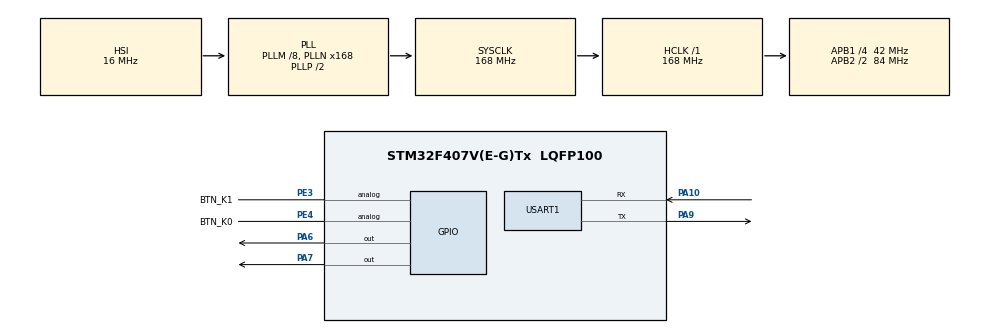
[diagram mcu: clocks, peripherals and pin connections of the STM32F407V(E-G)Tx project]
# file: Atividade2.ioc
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FREERTOS.Tasks01=TaskProcesso,24,128,TaskProcesso_fun,Default,NULL,Dynamic,NULL,NULL;TaskInterface,24,128,TaskInterface_fun,Default,NULL,Dynamic,NULL,NULL;TaskEmergencia,40,128,TaskEmergencia_fun,Default,NULL,Dynamic,NULL,NULL
Mcu.Family=STM32F4
Mcu.Name=STM32F407V(E-G)Tx
Mcu.Package=LQFP100
NVIC.PriorityGroup=NVIC_PRIORITYGROUP_4
NVIC.TIM1_UP_TIM10_IRQn=true\:15\:0\:false\:false\:true\:false\:false\:true\:true
NVIC.TimeBase=TIM1_UP_TIM10_IRQn
NVIC.TimeBaseIP=TIM1
PA10.Mode=Asynchronous
PA10.Signal=USART1_RX
PA6.Signal=GPIO_Output
PA7.Signal=GPIO_Output
PA9.Mode=Asynchronous
PA9.Signal=USART1_TX
PE3.GPIO_Label=BTN_K1
PE3.Signal=GPIO_Analog
PE4.GPIO_Label=BTN_K0
PE4.Signal=GPIO_Analog
ProjectManager.HeapSize=0x200
ProjectManager.StackSize=0x400
ProjectManager.TargetToolchain=STM32CubeIDE
RCC.48MHZClocksFreq_Value=84000000
RCC.AHBFreq_Value=168000000
RCC.APB1CLKDivider=RCC_HCLK_DIV4
RCC.APB1Freq_Value=42000000
RCC.APB1TimFreq_Value=84000000
RCC.APB2CLKDivider=RCC_HCLK_DIV2
RCC.APB2Freq_Value=84000000
RCC.APB2TimFreq_Value=168000000
RCC.CortexFreq_Value=168000000
RCC.HCLKFreq_Value=168000000
RCC.HSE_VALUE=25000000
RCC.HSI_VALUE=16000000
RCC.LSE_VALUE=32768
RCC.PLLM=8
RCC.PLLN=168
RCC.SYSCLKFreq_VALUE=168000000
RCC.SYSCLKSource=RCC_SYSCLKSOURCE_PLLCLK
RCC.VCOOutputFreq_Value=336000000
USART1.VirtualMode=VM_ASYNC
VP_FREERTOS_VS_CMSIS_V2.Mode=CMSIS_V2
VP_SYS_VS_tim1.Mode=TIM1
board=custom

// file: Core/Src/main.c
/* USER CODE BEGIN Header */
/**
  ******************************************************************************
  * @file           : main.c
  * @brief          : Main program body
  ******************************************************************************
  * @attention
  *
  * Copyright (c) 2026 STMicroelectronics.
  * All rights reserved.
  *
  * This software is licensed under terms that can be found in the LICENSE file
  * in the root directory of this software component.
  * If no LICENSE file comes with this software, it is provided AS-IS.
  *
  ******************************************************************************
  */
/* USER CODE END Header */
#include "main.h"
#include "cmsis_os.h"

/* USER CODE BEGIN Includes */
#include <stdio.h>
/* USER CODE END Includes */

UART_HandleTypeDef huart1;

/* Definitions for TaskProcesso */
osThreadId_t TaskProcessoHandle;
const osThreadAttr_t TaskProcesso_attributes = {
  .name = "TaskProcesso",
  .stack_size = 128 * 4,
  .priority = (osPriority_t) osPriorityNormal,
};
/* Definitions for TaskInterface */
osThreadId_t TaskInterfaceHandle;
const osThreadAttr_t TaskInterface_attributes = {
  .name = "TaskInterface",
  .stack_size = 128 * 4,
  .priority = (osPriority_t) osPriorityNormal,
};
/* Definitions for TaskEmergencia */
osThreadId_t TaskEmergenciaHandle;
const osThreadAttr_t TaskEmergencia_attributes = {
  .name = "TaskEmergencia",
  .stack_size = 128 * 4,
  .priority = (osPriority_t) osPriorityHigh,
};

void SystemClock_Config(void);
static void MX_GPIO_Init(void);
static void MX_USART1_UART_Init(void);
void TaskProcesso_fun(void *argument);
void TaskInterface_fun(void *argument);
void TaskEmergencia_fun(void *argument);

int main(void)
{

  /* MCU Configuration--------------------------------------------------------*/

  /* Reset of all peripherals, Initializes the Flash interface and the Systick. */
  HAL_Init();

  /* Configure the system clock */
  SystemClock_Config();

  /* Initialize all configured peripherals */
  MX_GPIO_Init();
  MX_USART1_UART_Init();

  /* Init scheduler */
  osKernelInitialize();

  /* Create the thread(s) */
  /* creation of TaskProcesso */
  TaskProcessoHandle = osThreadNew(TaskProcesso_fun, NULL, &TaskProcesso_attributes);

  /* creation of TaskInterface */
  TaskInterfaceHandle = osThreadNew(TaskInterface_fun, NULL, &TaskInterface_attributes);

  /* creation of TaskEmergencia */
  TaskEmergenciaHandle = osThreadNew(TaskEmergencia_fun, NULL, &TaskEmergencia_attributes);

  /* Start scheduler */
  osKernelStart();

  /* We should never get here as control is now taken by the scheduler */

  /* Infinite loop */
  while (1)
  {

  }
}

void SystemClock_Config(void)
{
  RCC_OscInitTypeDef RCC_OscInitStruct = {0};
  RCC_ClkInitTypeDef RCC_ClkInitStruct = {0};

  /** Configure the main internal regulator output voltage
  */
  __HAL_RCC_PWR_CLK_ENABLE();
  __HAL_PWR_VOLTAGESCALING_CONFIG(PWR_REGULATOR_VOLTAGE_SCALE1);

  /** Initializes the RCC Oscillators according to the specified parameters
  * in the RCC_OscInitTypeDef structure.
  */
  RCC_OscInitStruct.OscillatorType = RCC_OSCILLATORTYPE_HSI;
  RCC_OscInitStruct.HSIState = RCC_HSI_ON;
  RCC_OscInitStruct.HSICalibrationValue = RCC_HSICALIBRATION_DEFAULT;
  RCC_OscInitStruct.PLL.PLLState = RCC_PLL_ON;
  RCC_OscInitStruct.PLL.PLLSource = RCC_PLLSOURCE_HSI;
  RCC_OscInitStruct.PLL.PLLM = 8;
  RCC_OscInitStruct.PLL.PLLN = 168;
  RCC_OscInitStruct.PLL.PLLP = RCC_PLLP_DIV2;
  RCC_OscInitStruct.PLL.PLLQ = 4;
  if (HAL_RCC_OscConfig(&RCC_OscInitStruct) != HAL_OK)
  {
    Error_Handler();
  }

  /** Initializes the CPU, AHB and APB buses clocks
  */
  RCC_ClkInitStruct.ClockType = RCC_CLOCKTYPE_HCLK|RCC_CLOCKTYPE_SYSCLK
                              |RCC_CLOCKTYPE_PCLK1|RCC_CLOCKTYPE_PCLK2;
  RCC_ClkInitStruct.SYSCLKSource = RCC_SYSCLKSOURCE_PLLCLK;
  RCC_ClkInitStruct.AHBCLKDivider = RCC_SYSCLK_DIV1;
  RCC_ClkInitStruct.APB1CLKDivider = RCC_HCLK_DIV4;
  RCC_ClkInitStruct.APB2CLKDivider = RCC_HCLK_DIV2;

  if (HAL_RCC_ClockConfig(&RCC_ClkInitStruct, FLASH_LATENCY_5) != HAL_OK)
  {
    Error_Handler();
  }
}

static void MX_USART1_UART_Init(void)
{

  huart1.Instance = USART1;
  huart1.Init.BaudRate = 115200;
  huart1.Init.WordLength = UART_WORDLENGTH_8B;
  huart1.Init.StopBits = UART_STOPBITS_1;
  huart1.Init.Parity = UART_PARITY_NONE;
  huart1.Init.Mode = UART_MODE_TX_RX;
  huart1.Init.HwFlowCtl = UART_HWCONTROL_NONE;
  huart1.Init.OverSampling = UART_OVERSAMPLING_16;
  if (HAL_UART_Init(&huart1) != HAL_OK)
  {
    Error_Handler();
  }

}

static void MX_GPIO_Init(void)
{
  GPIO_InitTypeDef GPIO_InitStruct = {0};

  /* GPIO Ports Clock Enable */
  __HAL_RCC_GPIOE_CLK_ENABLE();
  __HAL_RCC_GPIOA_CLK_ENABLE();

  /*Configure GPIO pin Output Level */
  HAL_GPIO_WritePin(GPIOA, GPIO_PIN_6|GPIO_PIN_7, GPIO_PIN_RESET);

  /*Configure GPIO pins : BTN_K1_Pin BTN_K0_Pin */
  GPIO_InitStruct.Pin = BTN_K1_Pin|BTN_K0_Pin;
  GPIO_InitStruct.Mode = GPIO_MODE_ANALOG;
  GPIO_InitStruct.Pull = GPIO_NOPULL;
  HAL_GPIO_Init(GPIOE, &GPIO_InitStruct);

  /*Configure GPIO pins : PA6 PA7 */
  GPIO_InitStruct.Pin = GPIO_PIN_6|GPIO_PIN_7;
  GPIO_InitStruct.Mode = GPIO_MODE_OUTPUT_PP;
  GPIO_InitStruct.Pull = GPIO_NOPULL;
  GPIO_InitStruct.Speed = GPIO_SPEED_FREQ_LOW;
  HAL_GPIO_Init(GPIOA, &GPIO_InitStruct);

}

/* USER CODE BEGIN 4 */
int _write(int file, char *ptr, int len) {
    // Transmite os dados recebidos pelo printf via UART
    HAL_UART_Transmit(&huart1, (uint8_t*)ptr, len, HAL_MAX_DELAY);
    return len;
}
/* USER CODE END 4 */

void TaskProcesso_fun(void *argument)
{
  /* USER CODE BEGIN 5 */
  /* Infinite loop */
  volatile uint32_t contador = 0;
  for(;;)
  {
	  for(uint32_t i = 0; i < 50000000; i++){
		  contador++;
	  }
	  uint32_t tick_atual = osKernelGetTickCount();
	  printf("[%lu ms] TaskProcesso: Encerrado ciclo de contagem\r\n", tick_atual);
  }
  /* USER CODE END 5 */
}

void TaskInterface_fun(void *argument)
{
  /* USER CODE BEGIN TaskInterface_fun */
  /* Infinite loop */
  for(;;)
  {
	uint32_t tick_atual = osKernelGetTickCount();
	printf("[%lu ms] TaskInterface: Atualizando interface!\r\n", tick_atual);
	osDelay(1000);
  }
  /* USER CODE END TaskInterface_fun */
}

void TaskEmergencia_fun(void *argument)
{
  /* USER CODE BEGIN TaskEmergencia_fun */
  /* Infinite loop */
  for(;;)
  {
	uint32_t tick_atual = osKernelGetTickCount();
	printf("[%lu ms] TaskEmergencia: Emergencia simulada!\r\n", tick_atual);
	osDelay(2500);
  }
  /* USER CODE END TaskEmergencia_fun */
}

void HAL_TIM_PeriodElapsedCallback(TIM_HandleTypeDef *htim)
{
  if (htim->Instance == TIM1)
  {
    HAL_IncTick();
  }
}

void Error_Handler(void)
{
  __disable_irq();
  while (1)
  {
  }
}
